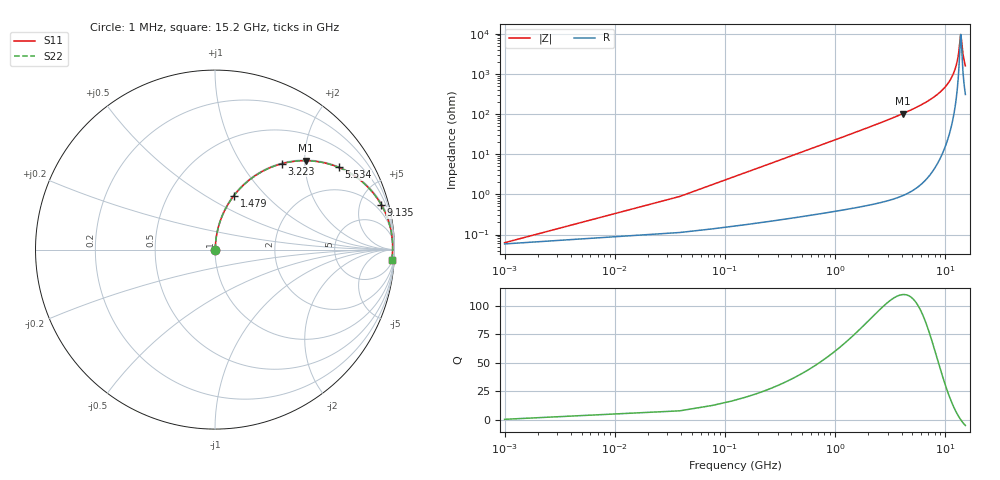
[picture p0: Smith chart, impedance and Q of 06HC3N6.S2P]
! Coilcraft 0603HC-3N6 Chip Inductor
! 03 June 2002
# MHZ S MA R 50
!Freq  MagS11  AngS11  MagS21  AngS21  MagS12  AngS12  MagS22  AngS22
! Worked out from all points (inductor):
!   403 points, 1 MHz to 15.2 GHz, reference 50 ohm
!   read as one part in series: L = 3.6 nH near 76.8 MHz
!   highest Q = 110 at 4.094 GHz (marker M1), where L = 3.95 nH
!   self-resonance near 13.76 GHz
!   S11 on the Smith chart (normalised r, x): 1 MHz: 1.00, +0.00; 1.479 GHz: 1.01, +0.68; 3.223 GHz: 1.01, +1.54; 5.534 GHz: 1.03, +2.98; 9.135 GHz: 1.17, +7.36; 15.2 GHz: 7, -31
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1  0.000625 21.2  0.9994 -0.0  0.9994 -0.0  0.000625 21.2
114.7  0.02594 85.0  0.9981 -1.5  0.9981 -1.5  0.02594 85.0
190.5  0.04302 85.0  0.9972 -2.5  0.9972 -2.5  0.04302 85.0
304.2  0.06856 84.2  0.9954 -3.9  0.9954 -3.9  0.06856 84.2
493.7  0.1109 82.2  0.9911 -6.4  0.9911 -6.4  0.1109 82.2
759  0.1692 79.2  0.9823 -9.7  0.9823 -9.7  0.1692 79.2
1479.1  0.3193 70.6  0.9434 -18.6  0.9434 -18.6  0.3193 70.6
2540.3  0.5089 58.8  0.8556 -30.6  0.8556 -30.6  0.5089 58.8
3222.5  0.6078 52.0  0.7883 -37.4  0.7883 -37.4  0.6078 52.0
4094.2  0.7093 44.3  0.6984 -45.2  0.6984 -45.2  0.7093 44.3
5079.6  0.7955 36.8  0.5985 -52.7  0.5985 -52.7  0.7955 36.8
5534.4  0.827 33.7  0.5542 -55.8  0.5542 -55.8  0.827 33.7
7618.9  0.9228 21.8  0.3721 -67.3  0.3721 -67.3  0.9228 21.8
9134.9  0.9593 15.1  0.2607 -73.5  0.2607 -73.5  0.9593 15.1
10158.2  0.9742 11.2  0.1941 -76.8  0.1941 -76.8  0.9742 11.2
11674.2  0.9863 6.1  0.1063 -79.5  0.1063 -79.5  0.9863 6.1
12697.5  0.9895 3.0  0.05342 -77.1  0.05342 -77.1  0.9895 3.0
13152.3  0.9899 1.7  0.03179 -70.6  0.03179 -70.6  0.9899 1.7
13682.9  0.9897 0.3  0.0115 -26.6  0.0115 -26.6  0.9897 0.3
13796.6  0.9896 -0.0  0.01038 0.2  0.01038 0.2  0.9896 -0.0
14478.8  0.9883 -1.8  0.03258 68.1  0.03258 68.1  0.9883 -1.8
15200  0.986 -3.5  0.06248 75.3  0.06248 75.3  0.986 -3.5
